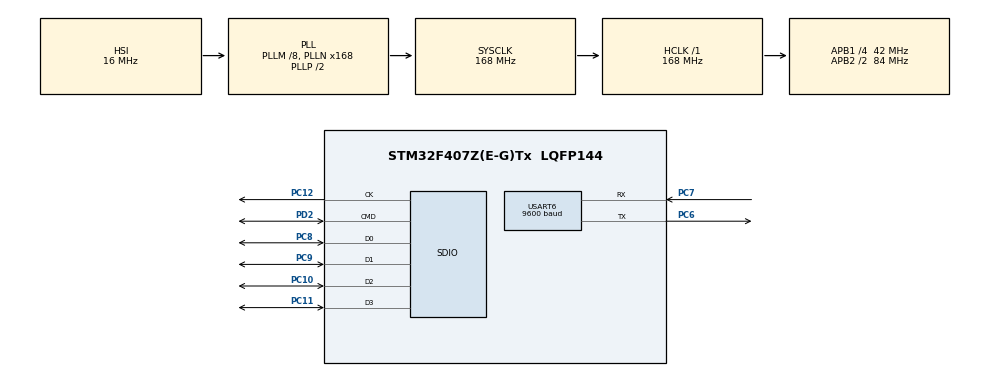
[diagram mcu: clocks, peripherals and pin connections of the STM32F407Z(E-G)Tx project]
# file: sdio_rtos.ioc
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Dma.Request0=SDIO_TX
Dma.Request1=SDIO_RX
Dma.SDIO_RX.1.Direction=DMA_PERIPH_TO_MEMORY
Dma.SDIO_RX.1.FIFOMode=DMA_FIFOMODE_ENABLE
Dma.SDIO_RX.1.FIFOThreshold=DMA_FIFO_THRESHOLD_FULL
Dma.SDIO_RX.1.Instance=DMA2_Stream6
Dma.SDIO_RX.1.MemBurst=DMA_MBURST_INC4
Dma.SDIO_RX.1.MemDataAlignment=DMA_MDATAALIGN_WORD
Dma.SDIO_RX.1.MemInc=DMA_MINC_ENABLE
Dma.SDIO_RX.1.Mode=DMA_PFCTRL
Dma.SDIO_RX.1.PeriphBurst=DMA_PBURST_INC4
Dma.SDIO_RX.1.PeriphDataAlignment=DMA_PDATAALIGN_WORD
Dma.SDIO_RX.1.PeriphInc=DMA_PINC_DISABLE
Dma.SDIO_RX.1.Priority=DMA_PRIORITY_LOW
Dma.SDIO_TX.0.Direction=DMA_MEMORY_TO_PERIPH
Dma.SDIO_TX.0.FIFOMode=DMA_FIFOMODE_ENABLE
Dma.SDIO_TX.0.FIFOThreshold=DMA_FIFO_THRESHOLD_FULL
Dma.SDIO_TX.0.Instance=DMA2_Stream3
Dma.SDIO_TX.0.MemBurst=DMA_MBURST_INC4
Dma.SDIO_TX.0.MemDataAlignment=DMA_MDATAALIGN_WORD
Dma.SDIO_TX.0.MemInc=DMA_MINC_ENABLE
Dma.SDIO_TX.0.Mode=DMA_PFCTRL
Dma.SDIO_TX.0.PeriphBurst=DMA_PBURST_INC4
Dma.SDIO_TX.0.PeriphDataAlignment=DMA_PDATAALIGN_WORD
Dma.SDIO_TX.0.PeriphInc=DMA_PINC_DISABLE
Dma.SDIO_TX.0.Priority=DMA_PRIORITY_LOW
FATFS._USE_STRFUNC=1
FREERTOS.Tasks01=defaultTask,0,256,StartDefaultTask,Default,NULL,Dynamic,NULL,NULL
FREERTOS.configMINIMAL_STACK_SIZE=256
Mcu.Family=STM32F4
Mcu.Name=STM32F407Z(E-G)Tx
Mcu.Package=LQFP144
NVIC.DMA2_Stream3_IRQn=true\:5\:0\:true\:false\:true\:true\:false\:true
NVIC.DMA2_Stream6_IRQn=true\:5\:0\:true\:false\:true\:true\:false\:true
NVIC.PriorityGroup=NVIC_PRIORITYGROUP_4
NVIC.SDIO_IRQn=true\:5\:0\:true\:false\:true\:false\:true\:true
NVIC.TIM1_UP_TIM10_IRQn=true\:0\:0\:false\:false\:true\:false\:false\:true
NVIC.TimeBase=TIM1_UP_TIM10_IRQn
NVIC.TimeBaseIP=TIM1
NVIC.USART6_IRQn=true\:0\:0\:false\:false\:true\:true\:true\:true
PA13.Mode=Serial_Wire
PA13.Signal=SYS_JTMS-SWDIO
PA14.Mode=Serial_Wire
PA14.Signal=SYS_JTCK-SWCLK
PC10.GPIO_Speed_High_Default=GPIO_SPEED_FREQ_HIGH
PC10.Mode=SD_4_bits_Wide_bus
PC10.Signal=SDIO_D2
PC11.GPIO_Speed_High_Default=GPIO_SPEED_FREQ_HIGH
PC11.Mode=SD_4_bits_Wide_bus
PC11.Signal=SDIO_D3
PC12.GPIO_Speed_High_Default=GPIO_SPEED_FREQ_HIGH
PC12.Mode=SD_4_bits_Wide_bus
PC12.Signal=SDIO_CK
PC6.Mode=Asynchronous
PC6.Signal=USART6_TX
PC7.Mode=Asynchronous
PC7.Signal=USART6_RX
PC8.GPIO_Speed_High_Default=GPIO_SPEED_FREQ_HIGH
PC8.Mode=SD_4_bits_Wide_bus
PC8.Signal=SDIO_D0
PC9.GPIO_Speed_High_Default=GPIO_SPEED_FREQ_HIGH
PC9.Mode=SD_4_bits_Wide_bus
PC9.Signal=SDIO_D1
PD2.GPIO_Speed_High_Default=GPIO_SPEED_FREQ_HIGH
PD2.Mode=SD_4_bits_Wide_bus
PD2.Signal=SDIO_CMD
PH0-OSC_IN.Mode=HSE-External-Oscillator
PH0-OSC_IN.Signal=RCC_OSC_IN
PH1-OSC_OUT.Mode=HSE-External-Oscillator
PH1-OSC_OUT.Signal=RCC_OSC_OUT
ProjectManager.HeapSize=0x200
ProjectManager.StackSize=0x400
ProjectManager.TargetToolchain=STM32CubeIDE
RCC.48MHZClocksFreq_Value=48000000
RCC.AHBFreq_Value=168000000
RCC.APB1CLKDivider=RCC_HCLK_DIV4
RCC.APB1Freq_Value=42000000
RCC.APB1TimFreq_Value=84000000
RCC.APB2CLKDivider=RCC_HCLK_DIV2
RCC.APB2Freq_Value=84000000
RCC.APB2TimFreq_Value=168000000
RCC.CortexFreq_Value=168000000
RCC.HCLKFreq_Value=168000000
RCC.HSE_VALUE=16000000
RCC.HSI_VALUE=16000000
RCC.LSE_VALUE=32768
RCC.PLLM=8
RCC.PLLN=168
RCC.PLLQ=7
RCC.SYSCLKFreq_VALUE=168000000
RCC.SYSCLKSource=RCC_SYSCLKSOURCE_PLLCLK
RCC.VCOOutputFreq_Value=336000000
SDIO.ClockDiv=4
USART6.BaudRate=9600
USART6.VirtualMode=VM_ASYNC
VP_FATFS_VS_SDIO.Mode=SDIO
VP_FREERTOS_VS_CMSIS_V1.Mode=CMSIS_V1
VP_SYS_VS_tim1.Mode=TIM1
board=custom

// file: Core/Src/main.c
/* USER CODE BEGIN Header */
/**
  ******************************************************************************
  * @file           : main.c
  * @brief          : Main program body
  ******************************************************************************
  * @attention
  *
  * <h2><center>&copy; Copyright (c) 2021 STMicroelectronics.
  * All rights reserved.</center></h2>
  *
  * This software component is licensed by ST under BSD 3-Clause license,
  * the "License"; You may not use this file except in compliance with the
  * License. You may obtain a copy of the License at:
  *                        opensource.org/licenses/BSD-3-Clause
  *
  ******************************************************************************
  */
/* USER CODE END Header */
#include "main.h"
#include "cmsis_os.h"
#include "fatfs.h"

SD_HandleTypeDef hsd;
DMA_HandleTypeDef hdma_sdio_tx;
DMA_HandleTypeDef hdma_sdio_rx;

UART_HandleTypeDef huart6;

void SystemClock_Config(void);
void MX_FREERTOS_Init(void);
static void MX_GPIO_Init(void);
static void MX_DMA_Init(void);
static void MX_SDIO_SD_Init(void);
static void MX_USART6_UART_Init(void);
void StartDefaultTask(void const * argument);

int main(void)
{

  /* MCU Configuration--------------------------------------------------------*/

  /* Reset of all peripherals, Initializes the Flash interface and the Systick. */
  HAL_Init();

  /* Configure the system clock */
  SystemClock_Config();

  /* Initialize all configured peripherals */
  MX_GPIO_Init();
  MX_DMA_Init();
  MX_SDIO_SD_Init();
 // MX_FATFS_Init();
  MX_USART6_UART_Init();
  /* USER CODE BEGIN 2 */
	printf("\r\n ********* Access Controller Board **************** \r\n");
	printf("\r\n TRAN NGOC TRAM \r\n");
	printf("\r\n HEY CAVE, THIS IS ERROR \r\n");
	 __HAL_UART_ENABLE_IT(&huart6,UART_IT_RXNE);
  /* USER CODE END 2 */

  /* Create the thread(s) */
  /* definition and creation of defaultTask */

  /* USER CODE BEGIN RTOS_THREADS */
	MX_FREERTOS_Init();
  /* add threads, ... */
  /* USER CODE END RTOS_THREADS */

  /* Start scheduler */
  osKernelStart();

  /* We should never get here as control is now taken by the scheduler */
  /* Infinite loop */
  while (1)
  {

  }
}

void SystemClock_Config(void)
{
  RCC_OscInitTypeDef RCC_OscInitStruct = {0};
  RCC_ClkInitTypeDef RCC_ClkInitStruct = {0};

  /** Configure the main internal regulator output voltage
  */
  __HAL_RCC_PWR_CLK_ENABLE();
  __HAL_PWR_VOLTAGESCALING_CONFIG(PWR_REGULATOR_VOLTAGE_SCALE1);
  /** Initializes the RCC Oscillators according to the specified parameters
  * in the RCC_OscInitTypeDef structure.
  */
  RCC_OscInitStruct.OscillatorType = RCC_OSCILLATORTYPE_HSI;
  RCC_OscInitStruct.HSIState = RCC_HSI_ON;
  RCC_OscInitStruct.HSICalibrationValue = RCC_HSICALIBRATION_DEFAULT;
  RCC_OscInitStruct.PLL.PLLState = RCC_PLL_ON;
  RCC_OscInitStruct.PLL.PLLSource = RCC_PLLSOURCE_HSI;
  RCC_OscInitStruct.PLL.PLLM = 8;
  RCC_OscInitStruct.PLL.PLLN = 168;
  RCC_OscInitStruct.PLL.PLLP = RCC_PLLP_DIV2;
  RCC_OscInitStruct.PLL.PLLQ = 7;
  if (HAL_RCC_OscConfig(&RCC_OscInitStruct) != HAL_OK)
  {
    Error_Handler();
  }
  /** Initializes the CPU, AHB and APB buses clocks
  */
  RCC_ClkInitStruct.ClockType = RCC_CLOCKTYPE_HCLK|RCC_CLOCKTYPE_SYSCLK
                              |RCC_CLOCKTYPE_PCLK1|RCC_CLOCKTYPE_PCLK2;
  RCC_ClkInitStruct.SYSCLKSource = RCC_SYSCLKSOURCE_PLLCLK;
  RCC_ClkInitStruct.AHBCLKDivider = RCC_SYSCLK_DIV1;
  RCC_ClkInitStruct.APB1CLKDivider = RCC_HCLK_DIV4;
  RCC_ClkInitStruct.APB2CLKDivider = RCC_HCLK_DIV2;

  if (HAL_RCC_ClockConfig(&RCC_ClkInitStruct, FLASH_LATENCY_5) != HAL_OK)
  {
    Error_Handler();
  }
}

static void MX_SDIO_SD_Init(void)
{

  hsd.Instance = SDIO;
  hsd.Init.ClockEdge = SDIO_CLOCK_EDGE_RISING;
  hsd.Init.ClockBypass = SDIO_CLOCK_BYPASS_DISABLE;
  hsd.Init.ClockPowerSave = SDIO_CLOCK_POWER_SAVE_DISABLE;
  hsd.Init.BusWide = SDIO_BUS_WIDE_1B;
  hsd.Init.HardwareFlowControl = SDIO_HARDWARE_FLOW_CONTROL_DISABLE;
  hsd.Init.ClockDiv = 4;

}

static void MX_USART6_UART_Init(void)
{

  huart6.Instance = USART6;
  huart6.Init.BaudRate = 9600;
  huart6.Init.WordLength = UART_WORDLENGTH_8B;
  huart6.Init.StopBits = UART_STOPBITS_1;
  huart6.Init.Parity = UART_PARITY_NONE;
  huart6.Init.Mode = UART_MODE_TX_RX;
  huart6.Init.HwFlowCtl = UART_HWCONTROL_NONE;
  huart6.Init.OverSampling = UART_OVERSAMPLING_16;
  if (HAL_UART_Init(&huart6) != HAL_OK)
  {
    Error_Handler();
  }

}

static void MX_DMA_Init(void)
{

  /* DMA controller clock enable */
  __HAL_RCC_DMA2_CLK_ENABLE();

  /* DMA interrupt init */
  /* DMA2_Stream3_IRQn interrupt configuration */
  HAL_NVIC_SetPriority(DMA2_Stream3_IRQn, 5, 0);
  HAL_NVIC_EnableIRQ(DMA2_Stream3_IRQn);
  /* DMA2_Stream6_IRQn interrupt configuration */
  HAL_NVIC_SetPriority(DMA2_Stream6_IRQn, 5, 0);
  HAL_NVIC_EnableIRQ(DMA2_Stream6_IRQn);

}

static void MX_GPIO_Init(void)
{

  /* GPIO Ports Clock Enable */
  __HAL_RCC_GPIOH_CLK_ENABLE();
  __HAL_RCC_GPIOC_CLK_ENABLE();
  __HAL_RCC_GPIOA_CLK_ENABLE();
  __HAL_RCC_GPIOD_CLK_ENABLE();

}

/* USER CODE BEGIN 4 */
PUTCHAR_PROTOTYPE
{
  /* Place your implementation of fputc here */
  /* e.g. write a character to the USART */
//  USART_SendData(EVAL_COM1, (uint8_t) ch);
	HAL_UART_Transmit(&huart6, (uint8_t *)&ch, 1, 0xFFFF);

  /* Loop until the end of transmission */
//  while (USART_GetFlagStatus(EVAL_COM1, USART_FLAG_TC) == RESET)
//  {}

  return ch;
}
/* USER CODE END 4 */

/* USER CODE BEGIN Header_StartDefaultTask */

void HAL_TIM_PeriodElapsedCallback(TIM_HandleTypeDef *htim)
{
  if (htim->Instance == TIM1) {
    HAL_IncTick();
  }
}

void Error_Handler(void)
{
}

/************************ (C) COPYRIGHT STMicroelectronics *****END OF FILE****/

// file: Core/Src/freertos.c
/* USER CODE BEGIN Header */
/**
  ******************************************************************************
  * File Name          : freertos.c
  * Description        : Code for freertos applications
  ******************************************************************************
  * @attention
  *
  * <h2><center>&copy; Copyright (c) 2021 STMicroelectronics.
  * All rights reserved.</center></h2>
  *
  * This software component is licensed by ST under Ultimate Liberty license
  * SLA0044, the "License"; You may not use this file except in compliance with
  * the License. You may obtain a copy of the License at:
  *                             www.st.com/SLA0044
  *
  ******************************************************************************
  */
/* USER CODE END Header */

#include "FreeRTOS.h"
#include "task.h"
#include "main.h"
#include "fatfs.h"

/* USER CODE BEGIN Includes */
#include "command.h"
#include "cmdline.h"

osThreadId resetHandlerTask;
extern uint32_t gotCommandFlag;
extern uint8_t commandBuffer[200];
extern uint32_t commandBufferIndex;
osMessageQId xQueueControlHandle;
osMessageQId xQueueMessageHandle;
osMessageQId xQueueDownlinkHandle;
osMessageQId xQueueUplinkHandle;
osMessageQId xQueueResetHandle;
/* USER CODE END Variables */
osThreadId defaultTaskHandle;
osTimerId myTimer01Handle;
osSemaphoreId netMqttIpSemaphoreHandle;
FATFS fs;
FIL fil;
FRESULT fresult;
char SDbuffer[200];
/* USER CODE END Includes */

/* USER CODE BEGIN PTD */
osThreadId defaultTaskHandle;
extern UART_HandleTypeDef huart6;
/* USER CODE END PTD */

/* USER CODE BEGIN PD */
void ResetHandlerTask(void *arg);
void Callback01(void const * argument);
/* USER CODE END FunctionPrototypes */
void StartDefaultTask(void const * argument);
void MX_FREERTOS_Init(void);
/* USER CODE END PD */

/* GetIdleTaskMemory prototype (linked to static allocation support) */
void vApplicationGetIdleTaskMemory( StaticTask_t **ppxIdleTaskTCBBuffer, StackType_t **ppxIdleTaskStackBuffer, uint32_t *pulIdleTaskStackSize );

/* USER CODE BEGIN GET_IDLE_TASK_MEMORY */
static StaticTask_t xIdleTaskTCBBuffer;
static StackType_t xIdleStack[configMINIMAL_STACK_SIZE];

void vApplicationGetIdleTaskMemory( StaticTask_t **ppxIdleTaskTCBBuffer, StackType_t **ppxIdleTaskStackBuffer, uint32_t *pulIdleTaskStackSize )
{
  *ppxIdleTaskTCBBuffer = &xIdleTaskTCBBuffer;
  *ppxIdleTaskStackBuffer = &xIdleStack[0];
  *pulIdleTaskStackSize = configMINIMAL_STACK_SIZE;
  /* place for user code */
}
/* USER CODE END GET_IDLE_TASK_MEMORY */

/* USER CODE BEGIN Application */
void MX_FREERTOS_Init(void) {
  /* USER CODE BEGIN Init */

  /* USER CODE END Init */

  /* USER CODE BEGIN RTOS_MUTEX */
	/* add mutexes, ... */
  /* USER CODE END RTOS_MUTEX */

  /* Create the semaphores(s) */
	  osSemaphoreDef(netMqttIpSemaphore);
	  netMqttIpSemaphoreHandle = osSemaphoreCreate(osSemaphore(netMqttIpSemaphore), 1);
  /* definition and creation of netMqttIpSemaphore */

  /* USER CODE BEGIN RTOS_SEMAPHORES */
	/* add semaphores, ... */
  /* USER CODE END RTOS_SEMAPHORES */

  /* Create the timer(s) */
  /* definition and creation of myTimer01 */
  /* USER CODE BEGIN RTOS_TIMERS */
	/* start timers, add new ones, ... */
  /* USER CODE END RTOS_TIMERS */

  /* USER CODE BEGIN RTOS_QUEUES */
	/* add queues, ... */

	  /* USER CODE BEGIN RTOS_SEMAPHORES */
		/* add semaphores, ... */
	  /* USER CODE END RTOS_SEMAPHORES */

	  /* Create the timer(s) */
	  /* definition and creation of myTimer01 */

	osMessageQDef(xQueueControl, 1, xQueueControl_t);
	xQueueControlHandle = osMessageCreate(osMessageQ(xQueueControl), NULL);

	osMessageQDef(xQueueMessage, 1, uint8_t);
	xQueueMessageHandle = osMessageCreate(osMessageQ(xQueueMessage), NULL);

	osMessageQDef(xQueueDownlink, 1, xQueueMbMqtt_t);
	xQueueDownlinkHandle = osMessageCreate(osMessageQ(xQueueDownlink), NULL);

	osMessageQDef(xQueueUplink, 1, xQueueMbMqtt_t);
	xQueueUplinkHandle = osMessageCreate(osMessageQ(xQueueUplink), NULL);

	osMessageQDef(xQueueReset, 1, sizeof(uint32_t));
	xQueueResetHandle = osMessageCreate(osMessageQ(xQueueUplink), NULL);

  /* USER CODE END RTOS_QUEUES */

  /* Create the thread(s) */
  /* definition and creation of defaultTask */
  osThreadDef(defaultTask, StartDefaultTask, osPriorityNormal, 0, 1024);
  defaultTaskHandle = osThreadCreate(osThread(defaultTask), NULL);
}
  /* USER CODE BEGIN RTOS_THREADS */
	/* add threads, ... */
void StartDefaultTask(void const * argument)
 {
   /* USER CODE BEGIN StartDefaultTask */
 	/*Create Task Modules in this line*/
 	/*SIm serive*/
	/*Reset Handler*/
	osThreadDef(resetHandlerTask, ResetHandlerTask, osPriorityRealtime, 0, 128);
	resetHandlerTask = osThreadCreate(osThread(resetHandlerTask), NULL);
	printf("\r\n MemFree: %d", xPortGetFreeHeapSize());
	printf("\r\n MemFree: %d", xPortGetFreeHeapSize());
 	/*Controller*/
 	xQueueControl_t xQueueControl;
 	#define PORT_DEFAULT_DELAY	1000
 	uint8_t uiSysState = SYS_START;
 	uint8_t uiSysUpdate = FALSE;
 	BaseType_t sysError;
 	int ret;
 	char *Badcommand = "Bad Command\r\n>";
 	/* Infinite loop */
 	for (;;) {
 		switch (uiSysState) {
 		case SYS_START:
 			printf("\r\n SYS_START: Implementing...  \r\n");
 			uiSysUpdate = TRUE;
 			uiSysState++;
 			break;
 		case SYS_DEVICE:
 			printf("\r\n SYS_DEVICE: Implementing...  \r\n");
			  MX_FATFS_Init();
			  if (BSP_SD_Init() == MSD_OK)
			  {
				  fresult = f_mount(&fs, "", 1);
				  fresult = f_open(&fil, "device.txt", FA_READ);
					for (uint8_t i = 0; (f_eof(&fil) == 0); i++)
					{
					   memset(SDbuffer,0, sizeof(SDbuffer));
					   f_gets((char*)SDbuffer, sizeof(SDbuffer), &fil);
					   printf("\r\nLine %d: %s",i, SDbuffer);

					}
					fresult = f_close(&fil);
			  }
 			uiSysUpdate = TRUE;
 			uiSysState++;
 			break;
		case SYS_DEFAULT:
			if (gotCommandFlag == 1) {
				gotCommandFlag = 0;
				ret = CmdLineProcess(commandBuffer);
				if (ret == CMDLINE_BAD_CMD){
					HAL_UART_Transmit(&huart6, Badcommand, strlen(Badcommand),100);
				}
			}
			//osDelay(10);
			break;
		}
		if ((uiSysUpdate == TRUE) && (uiSysState != SYS_DEFAULT)) {
			xQueueSend(xQueueMessageHandle, &uiSysState, 0);
			uiSysUpdate = FALSE;
		}
 	}
   /* USER CODE END StartDefaultTask */
 }
void ResetHandlerTask(void *arg)
{
	BaseType_t err = pdFALSE;
	uint32_t handle;
	while (1)
	{
		err = xQueueReceive(xQueueResetHandle, &handle, portMAX_DELAY);
		if (err == pdTRUE) {
			if (handle == 1) {
				handle = 0;
				//osThreadDef(flashSave, FlashTask, osPriorityRealtime,0, 2 * 128);
				//flashTask = osThreadCreate(osThread(flashSave), NULL);
				//xFlashSave();
				//osDelay(10);
				printf("\r\n System reset \r\n");
				NVIC_SystemReset();
			}
		}
		vTaskDelay(100);
	}
}
  /* USER CODE END RTOS_THREADS */

/* USER CODE END Application */

/************************ (C) COPYRIGHT STMicroelectronics *****END OF FILE****/
